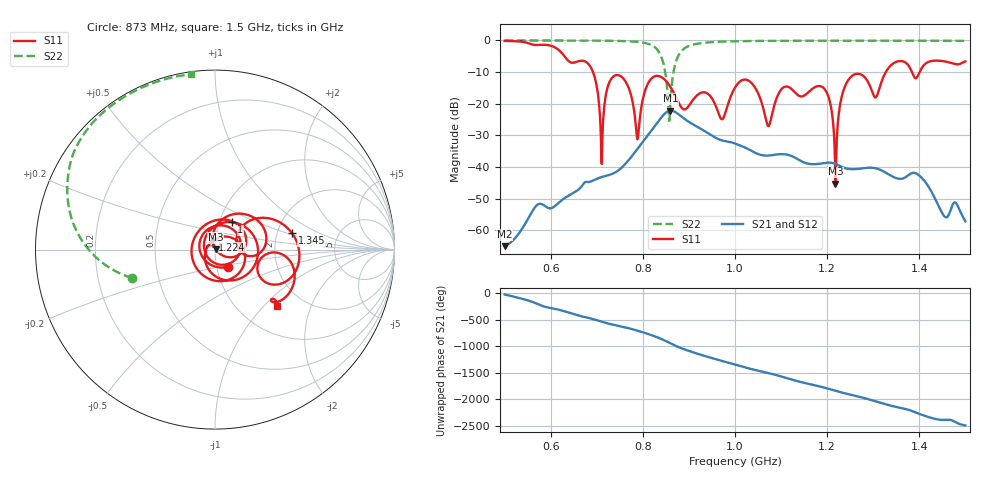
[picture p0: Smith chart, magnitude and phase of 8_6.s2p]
! TOUCHSTONE file generated by CST MICROWAVE STUDIO
! Date and time: Tue Nov 17 07:10:54 2020
! Project name: Scenario_1_Planar_Body_Tissue_Out_of_Line.cst
! Header version: 2018
! Port assignment regex: !\s*Touchstone port\s*([0-9]+)\s*=\s*(CST MWS port|CST DS port)\s*([0-9]+|Zmin|Zmax)\s*\(\"(.*)\"\)(\s*mode\s*([0-9]+))?.*
! Touchstone port assignment:
! Touchstone port 1 = CST MWS port 1 ("")
! Touchstone port 2 = CST MWS port 2 ("")
# GHz S DB R 50
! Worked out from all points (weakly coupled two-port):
!   1003 points, 500 MHz to 1.5 GHz, reference 50 ohm
!   highest |S21| = -22.17 dB at 860 MHz (marker M1); lowest = -65.1 dB at 500 MHz (marker M2)
!   lowest |S11| = -45.3 dB at 1.218 GHz (marker M3), VSWR 1.01, Z = 50.5 + j0.13 ohm
!   |S11| at or under -10 dB: 691.8 MHz to 1.327 GHz (635.4 MHz wide, 62.9 % of centre); 1.384 GHz to 1.401 GHz (16.64 MHz wide, 1.2 % of centre)
!   |S22| runs from -25.5 to 0.0 dB; largest |S21 - S12| = 0.00015
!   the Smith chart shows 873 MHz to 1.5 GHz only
!   S11 on the Smith chart (normalised r, x): 873 MHz: 1.14, -0.22; 1 GHz: 1.15, +0.36; 1.224 GHz: 0.97, +0.11; 1.345 GHz: 2.42, +0.54; 1.5 GHz: 1.48, -1.19
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0.5  -0.15 -121.7  -65.07 -24.1  -65.07 -24.1  -0.01 151.2
0.595  -1.51 -172.6  -53.01 89.5  -53.03 89.7  -0.02 144.5
0.667  -6.41 147.1  -46.21 -75.2  -46.29 -75.3  -0.04 138.4
0.694  -10.92 93.4  -44.19 -135.1  -44.18 -135.1  -0.06 135.5
0.711  -39.09 -80.4  -43.18 -179.2  -43.18 -179.2  -0.08 133.5
0.735  -11.54 171.8  -42.12 127.5  -42.12 127.5  -0.12 130.1
0.788  -31.26 126.6  -34.38 15.2  -34.38 15.2  -0.45 117.5
0.834  -11.25 84.7  -25.50 -120.5  -25.50 -120.5  -3.48 82.9
0.86  -14.73 -0.7  -22.17 133.9  -22.17 133.9  -19.28 -113.9
0.873  -18.30 -52.2  -22.90 80.0  -22.90 80.0  -6.23 -161.2
0.972  -24.93 -157.9  -31.63 163.3  -31.63 163.3  -0.37 144.4
1  -14.92 58.5  -32.60 94.0  -32.60 94.0  -0.26 140.1
1.072  -27.09 150.8  -36.41 -65.7  -36.41 -65.7  -0.14 132.2
1.167  -15.41 80.5  -39.13 75.4  -39.13 75.4  -0.10 124.2
1.2  -16.75 -7.9  -38.68 2.7  -38.68 2.7  -0.09 121.6
1.218  -45.34 13.8  -39.05 -43.7  -39.05 -43.7  -0.09 120.2
1.224  -24.85 102.8  -39.45 -58.4  -39.45 -58.4  -0.09 119.8
1.25  -11.76 49.9  -40.69 -112.8  -40.69 -112.8  -0.09 117.8
1.305  -18.04 14.5  -40.43 118.1  -40.43 118.1  -0.08 113.7
1.334  -8.55 26.1  -42.40 45.5  -42.40 45.5  -0.09 111.5
1.345  -7.14 11.9  -43.26 22.3  -43.26 22.3  -0.09 110.7
1.5  -6.62 -42.5  -57.22 23.5  -57.22 23.5  -0.13 97.9
